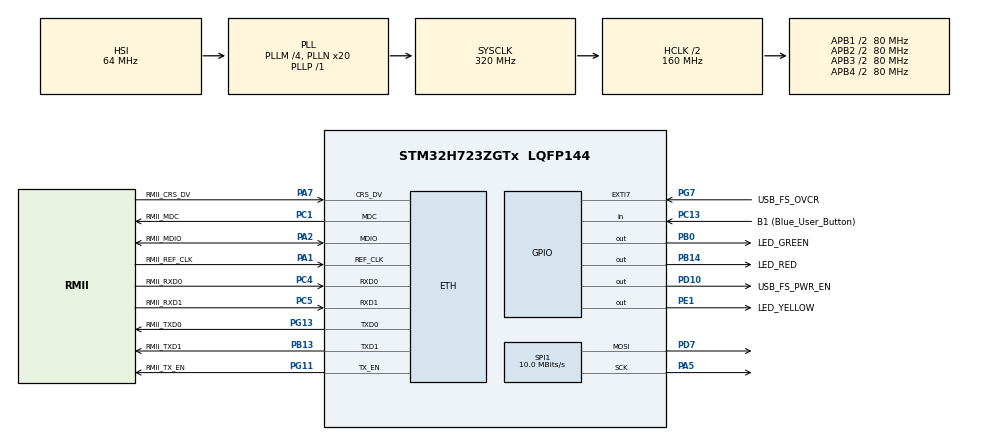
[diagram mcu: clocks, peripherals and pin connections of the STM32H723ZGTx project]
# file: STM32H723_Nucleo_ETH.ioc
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CORTEX_M7.AccessPermission_S-Cortex_Memory_Protection_Unit_Region1_Settings_S=MPU_REGION_FULL_ACCESS
CORTEX_M7.AccessPermission_S-Cortex_Memory_Protection_Unit_Region2_Settings_S=MPU_REGION_FULL_ACCESS
CORTEX_M7.BaseAddress_S-Cortex_Memory_Protection_Unit_Region1_Settings_S=0x30000000
CORTEX_M7.BaseAddress_S-Cortex_Memory_Protection_Unit_Region2_Settings_S=0x30000000
CORTEX_M7.CPU_DCache=Enabled
CORTEX_M7.CPU_ICache=Enabled
CORTEX_M7.DisableExec_S-Cortex_Memory_Protection_Unit_Region1_Settings_S=MPU_INSTRUCTION_ACCESS_DISABLE
CORTEX_M7.DisableExec_S-Cortex_Memory_Protection_Unit_Region2_Settings_S=MPU_INSTRUCTION_ACCESS_DISABLE
CORTEX_M7.Enable_S-Cortex_Memory_Protection_Unit_Region1_Settings_S=MPU_REGION_ENABLE
CORTEX_M7.Enable_S-Cortex_Memory_Protection_Unit_Region2_Settings_S=MPU_REGION_ENABLE
CORTEX_M7.IsBufferable_S-Cortex_Memory_Protection_Unit_Region2_Settings_S=MPU_ACCESS_BUFFERABLE
CORTEX_M7.IsShareable_S-Cortex_Memory_Protection_Unit_Region2_Settings_S=MPU_ACCESS_SHAREABLE
CORTEX_M7.Size_S-Cortex_Memory_Protection_Unit_Region1_Settings_S=MPU_REGION_SIZE_32KB
CORTEX_M7.Size_S-Cortex_Memory_Protection_Unit_Region2_Settings_S=MPU_REGION_SIZE_512B
CORTEX_M7.TypeExtField_S-Cortex_Memory_Protection_Unit_Region1_Settings_S=MPU_TEX_LEVEL1
CORTEX_M7.default_mode_Activation=1
Dma.Request0=SPI1_TX
Dma.SPI1_TX.0.Direction=DMA_MEMORY_TO_PERIPH
Dma.SPI1_TX.0.EventEnable=DISABLE
Dma.SPI1_TX.0.FIFOMode=DMA_FIFOMODE_ENABLE
Dma.SPI1_TX.0.FIFOThreshold=DMA_FIFO_THRESHOLD_FULL
Dma.SPI1_TX.0.Instance=DMA1_Stream0
Dma.SPI1_TX.0.MemBurst=DMA_MBURST_SINGLE
Dma.SPI1_TX.0.MemDataAlignment=DMA_MDATAALIGN_BYTE
Dma.SPI1_TX.0.MemInc=DMA_MINC_ENABLE
Dma.SPI1_TX.0.Mode=DMA_NORMAL
Dma.SPI1_TX.0.PeriphBurst=DMA_PBURST_SINGLE
Dma.SPI1_TX.0.PeriphDataAlignment=DMA_PDATAALIGN_BYTE
Dma.SPI1_TX.0.PeriphInc=DMA_PINC_DISABLE
Dma.SPI1_TX.0.Polarity=HAL_DMAMUX_REQ_GEN_RISING
Dma.SPI1_TX.0.Priority=DMA_PRIORITY_HIGH
Dma.SPI1_TX.0.RequestNumber=1
Dma.SPI1_TX.0.SignalID=NONE
Dma.SPI1_TX.0.SyncEnable=DISABLE
Dma.SPI1_TX.0.SyncPolarity=HAL_DMAMUX_SYNC_NO_EVENT
Dma.SPI1_TX.0.SyncRequestNumber=1
Dma.SPI1_TX.0.SyncSignalID=NONE
ETH.MediaInterface=HAL_ETH_RMII_MODE
ETH.RxBuffAddress=0x30000200
ETH.RxBuffLen=1536
ETH.TxDescAddress=0x30000100
FREERTOS.Tasks01=defaultTask,24,512,StartDefaultTask,Default,NULL,Dynamic,NULL,NULL
FREERTOS.configCHECK_FOR_STACK_OVERFLOW=1
FREERTOS.configMINIMAL_STACK_SIZE=512
FREERTOS.configTOTAL_HEAP_SIZE=30*1024
FREERTOS.configUSE_NEWLIB_REENTRANT=1
LWIP.BSP.number=1
LWIP.DEFAULT_THREAD_STACKSIZE=2048
LWIP.IP_ADDRESS=192.168.001.010
LWIP.LWIP_DHCP=0
LWIP.LWIP_RAM_HEAP_POINTER=0x30000200
LWIP.MEM_SIZE=32232
LWIP.NETMASK_ADDRESS=255.255.255.000
LWIP.TCPIP_THREAD_STACKSIZE=2048
LWIP.TCP_MSS=1460
LWIP.TCP_SND_BUF=5840
LWIP.TCP_SND_QUEUELEN=16
LWIP.Version=v2.1.2_Cube
LWIP0.BSP.STBoard=false
LWIP0.BSP.api=BSP_COMPONENT_DRIVER
LWIP0.BSP.component=LAN8742
LWIP0.BSP.instance=LAN8742
LWIP0.BSP.name=Driver_PHY
LWIP0.BSP.semaphore=S_LAN8742
LWIP0.BSP.solution=LAN8742
Mcu.Family=STM32H7
Mcu.Name=STM32H723ZGTx
Mcu.Package=LQFP144
NVIC.DMA1_Stream0_IRQn=true\:5\:0\:false\:false\:true\:true\:false\:true\:true
NVIC.ETH_IRQn=true\:5\:0\:false\:false\:true\:true\:true\:true\:true
NVIC.PriorityGroup=NVIC_PRIORITYGROUP_4
NVIC.SPI1_IRQn=true\:5\:0\:false\:false\:true\:true\:false\:true\:true
NVIC.TIM6_DAC_IRQn=true\:15\:0\:false\:false\:true\:false\:false\:true\:true
NVIC.TimeBase=TIM6_DAC_IRQn
NVIC.TimeBaseIP=TIM6
PA1.GPIO_Label=RMII_REF_CLK
PA1.GPIO_Speed=GPIO_SPEED_FREQ_VERY_HIGH
PA1.Mode=RMII
PA1.Signal=ETH_REF_CLK
PA10.GPIO_Label=USB_FS_ID
PA10.Signal=USB_OTG_HS_ID
PA13(JTMS/SWDIO).GPIO_Label=SWDIO
PA13(JTMS/SWDIO).Signal=DEBUG_JTMS-SWDIO
PA14(JTCK/SWCLK).GPIO_Label=SWCLK
PA14(JTCK/SWCLK).Signal=DEBUG_JTCK-SWCLK
PA2.GPIO_Label=RMII_MDIO
PA2.GPIO_Speed=GPIO_SPEED_FREQ_VERY_HIGH
PA2.Mode=RMII
PA2.Signal=ETH_MDIO
PA5.GPIO_Speed=GPIO_SPEED_FREQ_LOW
PA5.Mode=TX_Only_Simplex_Unidirect_Master
PA5.Signal=SPI1_SCK
PA7.GPIO_Label=RMII_CRS_DV
PA7.GPIO_Speed=GPIO_SPEED_FREQ_VERY_HIGH
PA7.Mode=RMII
PA7.Signal=ETH_CRS_DV
PA9.GPIO_Label=USB_FS_VBUS
PA9.Signal=USB_OTG_HS_VBUS
PB0.GPIO_Label=LED_GREEN
PB0.Signal=GPIO_Output
PB13.GPIO_Label=RMII_TXD1
PB13.GPIO_Speed=GPIO_SPEED_FREQ_VERY_HIGH
PB13.Mode=RMII
PB13.Signal=ETH_TXD1
PB14.GPIO_Label=LED_RED
PB14.Signal=GPIO_Output
PB3(JTDO/TRACESWO).GPIO_Label=SWO
PB3(JTDO/TRACESWO).Signal=DEBUG_JTDO-SWO
PC1.GPIO_Label=RMII_MDC
PC1.GPIO_Speed=GPIO_SPEED_FREQ_VERY_HIGH
PC1.Mode=RMII
PC1.Signal=ETH_MDC
PC13.GPIO_Label=B1 (Blue_User_Button)
PC13.Signal=GPIO_Input
PC14-OSC32_IN.Signal=RCC_OSC32_IN
PC15-OSC32_OUT.Signal=RCC_OSC32_OUT
PC4.GPIO_Label=RMII_RXD0
PC4.GPIO_Speed=GPIO_SPEED_FREQ_VERY_HIGH
PC4.Mode=RMII
PC4.Signal=ETH_RXD0
PC5.GPIO_Label=RMII_RXD1
PC5.GPIO_Speed=GPIO_SPEED_FREQ_VERY_HIGH
PC5.Mode=RMII
PC5.Signal=ETH_RXD1
PD10.GPIO_Label=USB_FS_PWR_EN
PD10.Signal=GPIO_Output
PD7.GPIO_Speed=GPIO_SPEED_FREQ_LOW
PD7.Mode=TX_Only_Simplex_Unidirect_Master
PD7.Signal=SPI1_MOSI
PD8.GPIO_Label=STLK_VCP_RX
PD8.Signal=USART3_TX
PD9.GPIO_Label=STLK_VCP_TX
PD9.Signal=USART3_RX
PE1.GPIO_Label=LED_YELLOW
PE1.Signal=GPIO_Output
PG11.GPIO_Label=RMII_TX_EN
PG11.GPIO_Speed=GPIO_SPEED_FREQ_VERY_HIGH
PG11.Mode=RMII
PG11.Signal=ETH_TX_EN
PG13.GPIO_Label=RMII_TXD0
PG13.GPIO_Speed=GPIO_SPEED_FREQ_VERY_HIGH
PG13.Mode=RMII
PG13.Signal=ETH_TXD0
PG7.GPIO_Label=USB_FS_OVCR
PG7.Signal=GPXTI7
PH0-OSC_IN.GPIO_Label=MCO
PH0-OSC_IN.Signal=RCC_OSC_IN
PH1-OSC_OUT.Signal=RCC_OSC_OUT
ProjectManager.HeapSize=0x200
ProjectManager.StackSize=0x400
ProjectManager.TargetToolchain=STM32CubeIDE
RCC.ADCFreq_Value=608000000
RCC.APB1Freq_Value=80000000
RCC.APB2Freq_Value=80000000
RCC.APB3Freq_Value=80000000
RCC.APB4Freq_Value=80000000
RCC.CortexFreq_Value=320000000
RCC.D1PPRE=RCC_APB3_DIV2
RCC.D2PPRE1=RCC_APB1_DIV2
RCC.D2PPRE2=RCC_APB2_DIV2
RCC.D3PPRE=RCC_APB4_DIV2
RCC.DIVM1=4
RCC.DIVM2=1
RCC.DIVN1=20
RCC.DIVN2=19
RCC.DIVP1=1
RCC.HCLKFreq_Value=160000000
RCC.HPRE=RCC_HCLK_DIV2
RCC.HSE_VALUE=8000000
RCC.PLLFRACN=0
RCC.SYSCLKFreq_VALUE=320000000
RCC.SYSCLKSource=RCC_SYSCLKSOURCE_PLLCLK
RCC.USBCLockSelection=RCC_USBCLKSOURCE_HSI48
RCC.USBFreq_Value=48000000
SPI1.BaudRatePrescaler=SPI_BAUDRATEPRESCALER_16
SPI1.CalculateBaudRate=10.0 MBits/s
SPI1.DataSize=SPI_DATASIZE_8BIT
SPI1.Direction=SPI_DIRECTION_2LINES_TXONLY
SPI1.Mode=SPI_MODE_MASTER
SPI1.VirtualType=VM_MASTER
VP_FREERTOS_VS_CMSIS_V2.Mode=CMSIS_V2
VP_LWIP_VS_Enabled.Mode=Enabled
VP_SYS_VS_tim6.Mode=TIM6
board=NUCLEO-H723ZG

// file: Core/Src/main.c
/* USER CODE BEGIN Header */
/**
  ******************************************************************************
  * @file           : main.c
  * @brief          : Main program body
  ******************************************************************************
  * @attention
  *
  * Copyright (c) 2022 STMicroelectronics.
  * All rights reserved.
  *
  * This software is licensed under terms that can be found in the LICENSE file
  * in the root directory of this software component.
  * If no LICENSE file comes with this software, it is provided AS-IS.
  *
  ******************************************************************************
  */
/* USER CODE END Header */
#include "main.h"
#include "cmsis_os.h"
#include "lwip.h"

/* USER CODE BEGIN Includes */
/* ETH_CODE: add lwiperf, see comment in StartDefaultTask function */
#include "lwip/apps/lwiperf.h"
#include "lwip/api.h"
#include "lwip/sys.h"
/* USER CODE END Includes */

SPI_HandleTypeDef hspi1;
DMA_HandleTypeDef hdma_spi1_tx;

/* Definitions for defaultTask */
osThreadId_t defaultTaskHandle;
const osThreadAttr_t defaultTask_attributes = {
  .name = "defaultTask",
  .stack_size = 512 * 4,
  .priority = (osPriority_t) osPriorityNormal,
};
/* USER CODE BEGIN PV */
extern SPI_HandleTypeDef hspi1;
osSemaphoreId_t SpiTxSemHandle;
/* USER CODE END PV */

void SystemClock_Config(void);
static void MPU_Config(void);
static void MX_GPIO_Init(void);
static void MX_DMA_Init(void);
static void MX_SPI1_Init(void);
void StartDefaultTask(void *argument);

int main(void)
{

  /* MPU Configuration--------------------------------------------------------*/
  MPU_Config();

  /* Enable I-Cache---------------------------------------------------------*/
  SCB_EnableICache();

  /* Enable D-Cache---------------------------------------------------------*/
  SCB_EnableDCache();

  /* MCU Configuration--------------------------------------------------------*/

  /* Reset of all peripherals, Initializes the Flash interface and the Systick. */
  HAL_Init();

  /* Configure the system clock */
  SystemClock_Config();

  /* Initialize all configured peripherals */
  MX_GPIO_Init();
  MX_DMA_Init();
  MX_SPI1_Init();

  /* Init scheduler */
  osKernelInitialize();

  /* Create the thread(s) */
  /* creation of defaultTask */
  defaultTaskHandle = osThreadNew(StartDefaultTask, NULL, &defaultTask_attributes);

  /* Start scheduler */
  osKernelStart();

  /* We should never get here as control is now taken by the scheduler */
  /* Infinite loop */
  while (1)
  {

  }
}

void SystemClock_Config(void)
{
  RCC_OscInitTypeDef RCC_OscInitStruct = {0};
  RCC_ClkInitTypeDef RCC_ClkInitStruct = {0};

  /** Supply configuration update enable
  */
  HAL_PWREx_ConfigSupply(PWR_LDO_SUPPLY);

  /** Configure the main internal regulator output voltage
  */
  __HAL_PWR_VOLTAGESCALING_CONFIG(PWR_REGULATOR_VOLTAGE_SCALE1);

  while(!__HAL_PWR_GET_FLAG(PWR_FLAG_VOSRDY)) {}

  /** Initializes the RCC Oscillators according to the specified parameters
  * in the RCC_OscInitTypeDef structure.
  */
  RCC_OscInitStruct.OscillatorType = RCC_OSCILLATORTYPE_HSI;
  RCC_OscInitStruct.HSIState = RCC_HSI_DIV1;
  RCC_OscInitStruct.HSICalibrationValue = RCC_HSICALIBRATION_DEFAULT;
  RCC_OscInitStruct.PLL.PLLState = RCC_PLL_ON;
  RCC_OscInitStruct.PLL.PLLSource = RCC_PLLSOURCE_HSI;
  RCC_OscInitStruct.PLL.PLLM = 4;
  RCC_OscInitStruct.PLL.PLLN = 20;
  RCC_OscInitStruct.PLL.PLLP = 1;
  RCC_OscInitStruct.PLL.PLLQ = 2;
  RCC_OscInitStruct.PLL.PLLR = 2;
  RCC_OscInitStruct.PLL.PLLRGE = RCC_PLL1VCIRANGE_3;
  RCC_OscInitStruct.PLL.PLLVCOSEL = RCC_PLL1VCOWIDE;
  RCC_OscInitStruct.PLL.PLLFRACN = 0;
  if (HAL_RCC_OscConfig(&RCC_OscInitStruct) != HAL_OK)
  {
    Error_Handler();
  }

  /** Initializes the CPU, AHB and APB buses clocks
  */
  RCC_ClkInitStruct.ClockType = RCC_CLOCKTYPE_HCLK|RCC_CLOCKTYPE_SYSCLK
                              |RCC_CLOCKTYPE_PCLK1|RCC_CLOCKTYPE_PCLK2
                              |RCC_CLOCKTYPE_D3PCLK1|RCC_CLOCKTYPE_D1PCLK1;
  RCC_ClkInitStruct.SYSCLKSource = RCC_SYSCLKSOURCE_PLLCLK;
  RCC_ClkInitStruct.SYSCLKDivider = RCC_SYSCLK_DIV1;
  RCC_ClkInitStruct.AHBCLKDivider = RCC_HCLK_DIV2;
  RCC_ClkInitStruct.APB3CLKDivider = RCC_APB3_DIV2;
  RCC_ClkInitStruct.APB1CLKDivider = RCC_APB1_DIV2;
  RCC_ClkInitStruct.APB2CLKDivider = RCC_APB2_DIV2;
  RCC_ClkInitStruct.APB4CLKDivider = RCC_APB4_DIV2;

  if (HAL_RCC_ClockConfig(&RCC_ClkInitStruct, FLASH_LATENCY_2) != HAL_OK)
  {
    Error_Handler();
  }
}

static void MX_SPI1_Init(void)
{

  /* SPI1 parameter configuration*/
  hspi1.Instance = SPI1;
  hspi1.Init.Mode = SPI_MODE_MASTER;
  hspi1.Init.Direction = SPI_DIRECTION_2LINES_TXONLY;
  hspi1.Init.DataSize = SPI_DATASIZE_8BIT;
  hspi1.Init.CLKPolarity = SPI_POLARITY_LOW;
  hspi1.Init.CLKPhase = SPI_PHASE_1EDGE;
  hspi1.Init.NSS = SPI_NSS_SOFT;
  hspi1.Init.BaudRatePrescaler = SPI_BAUDRATEPRESCALER_16;
  hspi1.Init.FirstBit = SPI_FIRSTBIT_MSB;
  hspi1.Init.TIMode = SPI_TIMODE_DISABLE;
  hspi1.Init.CRCCalculation = SPI_CRCCALCULATION_DISABLE;
  hspi1.Init.CRCPolynomial = 0x0;
  hspi1.Init.NSSPMode = SPI_NSS_PULSE_ENABLE;
  hspi1.Init.NSSPolarity = SPI_NSS_POLARITY_LOW;
  hspi1.Init.FifoThreshold = SPI_FIFO_THRESHOLD_01DATA;
  hspi1.Init.TxCRCInitializationPattern = SPI_CRC_INITIALIZATION_ALL_ZERO_PATTERN;
  hspi1.Init.RxCRCInitializationPattern = SPI_CRC_INITIALIZATION_ALL_ZERO_PATTERN;
  hspi1.Init.MasterSSIdleness = SPI_MASTER_SS_IDLENESS_00CYCLE;
  hspi1.Init.MasterInterDataIdleness = SPI_MASTER_INTERDATA_IDLENESS_00CYCLE;
  hspi1.Init.MasterReceiverAutoSusp = SPI_MASTER_RX_AUTOSUSP_DISABLE;
  hspi1.Init.MasterKeepIOState = SPI_MASTER_KEEP_IO_STATE_DISABLE;
  hspi1.Init.IOSwap = SPI_IO_SWAP_DISABLE;
  if (HAL_SPI_Init(&hspi1) != HAL_OK)
  {
    Error_Handler();
  }

}

static void MX_DMA_Init(void)
{

  /* DMA controller clock enable */
  __HAL_RCC_DMA1_CLK_ENABLE();

  /* DMA interrupt init */
  /* DMA1_Stream0_IRQn interrupt configuration */
  HAL_NVIC_SetPriority(DMA1_Stream0_IRQn, 5, 0);
  HAL_NVIC_EnableIRQ(DMA1_Stream0_IRQn);

}

static void MX_GPIO_Init(void)
{
  GPIO_InitTypeDef GPIO_InitStruct = {0};

  /* GPIO Ports Clock Enable */
  __HAL_RCC_GPIOC_CLK_ENABLE();
  __HAL_RCC_GPIOH_CLK_ENABLE();
  __HAL_RCC_GPIOA_CLK_ENABLE();
  __HAL_RCC_GPIOB_CLK_ENABLE();
  __HAL_RCC_GPIOD_CLK_ENABLE();
  __HAL_RCC_GPIOG_CLK_ENABLE();
  __HAL_RCC_GPIOE_CLK_ENABLE();

  /*Configure GPIO pin Output Level */
  HAL_GPIO_WritePin(GPIOB, LED_GREEN_Pin|LED_RED_Pin, GPIO_PIN_RESET);

  /*Configure GPIO pin Output Level */
  HAL_GPIO_WritePin(USB_FS_PWR_EN_GPIO_Port, USB_FS_PWR_EN_Pin, GPIO_PIN_RESET);

  /*Configure GPIO pin Output Level */
  HAL_GPIO_WritePin(LED_YELLOW_GPIO_Port, LED_YELLOW_Pin, GPIO_PIN_RESET);

  /*Configure GPIO pin : B1_Pin */
  GPIO_InitStruct.Pin = B1_Pin;
  GPIO_InitStruct.Mode = GPIO_MODE_INPUT;
  GPIO_InitStruct.Pull = GPIO_NOPULL;
  HAL_GPIO_Init(B1_GPIO_Port, &GPIO_InitStruct);

  /*Configure GPIO pins : LED_GREEN_Pin LED_RED_Pin */
  GPIO_InitStruct.Pin = LED_GREEN_Pin|LED_RED_Pin;
  GPIO_InitStruct.Mode = GPIO_MODE_OUTPUT_PP;
  GPIO_InitStruct.Pull = GPIO_NOPULL;
  GPIO_InitStruct.Speed = GPIO_SPEED_FREQ_LOW;
  HAL_GPIO_Init(GPIOB, &GPIO_InitStruct);

  /*Configure GPIO pins : STLK_VCP_RX_Pin STLK_VCP_TX_Pin */
  GPIO_InitStruct.Pin = STLK_VCP_RX_Pin|STLK_VCP_TX_Pin;
  GPIO_InitStruct.Mode = GPIO_MODE_AF_PP;
  GPIO_InitStruct.Pull = GPIO_NOPULL;
  GPIO_InitStruct.Speed = GPIO_SPEED_FREQ_LOW;
  GPIO_InitStruct.Alternate = GPIO_AF7_USART3;
  HAL_GPIO_Init(GPIOD, &GPIO_InitStruct);

  /*Configure GPIO pin : USB_FS_PWR_EN_Pin */
  GPIO_InitStruct.Pin = USB_FS_PWR_EN_Pin;
  GPIO_InitStruct.Mode = GPIO_MODE_OUTPUT_PP;
  GPIO_InitStruct.Pull = GPIO_NOPULL;
  GPIO_InitStruct.Speed = GPIO_SPEED_FREQ_LOW;
  HAL_GPIO_Init(USB_FS_PWR_EN_GPIO_Port, &GPIO_InitStruct);

  /*Configure GPIO pin : USB_FS_OVCR_Pin */
  GPIO_InitStruct.Pin = USB_FS_OVCR_Pin;
  GPIO_InitStruct.Mode = GPIO_MODE_IT_RISING;
  GPIO_InitStruct.Pull = GPIO_NOPULL;
  HAL_GPIO_Init(USB_FS_OVCR_GPIO_Port, &GPIO_InitStruct);

  /*Configure GPIO pin : USB_FS_ID_Pin */
  GPIO_InitStruct.Pin = USB_FS_ID_Pin;
  GPIO_InitStruct.Mode = GPIO_MODE_AF_PP;
  GPIO_InitStruct.Pull = GPIO_NOPULL;
  GPIO_InitStruct.Speed = GPIO_SPEED_FREQ_LOW;
  GPIO_InitStruct.Alternate = GPIO_AF10_OTG1_HS;
  HAL_GPIO_Init(USB_FS_ID_GPIO_Port, &GPIO_InitStruct);

  /*Configure GPIO pin : LED_YELLOW_Pin */
  GPIO_InitStruct.Pin = LED_YELLOW_Pin;
  GPIO_InitStruct.Mode = GPIO_MODE_OUTPUT_PP;
  GPIO_InitStruct.Pull = GPIO_NOPULL;
  GPIO_InitStruct.Speed = GPIO_SPEED_FREQ_LOW;
  HAL_GPIO_Init(LED_YELLOW_GPIO_Port, &GPIO_InitStruct);

}

/* USER CODE BEGIN 4 */
/* USER CODE BEGIN 4 */
void HAL_SPI_TxCpltCallback(SPI_HandleTypeDef *hspi)
{
  // Check if this is the SPI instance we are using
  if(hspi->Instance == SPI1)
  {
    // Wake up the StartBridgeTask
    osSemaphoreRelease(SpiTxSemHandle);
  }
}
/* USER CODE END 4 */

void StartDefaultTask(void *argument)
{
  /* init code for LWIP */
  MX_LWIP_Init();
  /* USER CODE BEGIN 5 */
  struct netconn *conn, *newconn;
  err_t err;

  // 1. Create the Semaphore for SPI DMA
  // Initial count 0 means if we try to take it, we block immediately (until SPI is done)
  SpiTxSemHandle = osSemaphoreNew(1, 0, NULL);

  // 2. Create a new TCP connection handle
  conn = netconn_new(NETCONN_TCP);

  if (conn != NULL)
  {
    // 3. Bind to Port 5000 (Host laptop connects to 192.168.1.10:5000)
    err = netconn_bind(conn, IP_ADDR_ANY, 5000);

    if (err == ERR_OK)
    {
      // 4. Put connection into LISTEN state
      netconn_listen(conn);

      while (1)
      {
        // 5. Accept a new connection (Blocking wait)
        // The task sleeps here until the Laptop connects
        err = netconn_accept(conn, &newconn);

        if (err == ERR_OK)
        {
          struct netbuf *buf;
          void *data;
          u16_t len;

          // 6. Process the incoming data stream
          while ((err = netconn_recv(newconn, &buf)) == ERR_OK)
          {
            // A netbuf might be fragmented. Iterate through the chain.
            do
            {
               // Get pointer to the data payload inside the LwIP buffer
               netbuf_data(buf, &data, &len);

               // SAFETY: Clean D-Cache to ensure DMA reads physical RAM, not old cache.
               // Even with MPU, this is a safe, low-cost guardrail.
               SCB_CleanDCache_by_Addr((uint32_t*)data, len + 32);

               // 7. Start SPI DMA Transfer (Zero Copy)
               // We pass the LwIP buffer pointer directly to SPI hardware
               if(HAL_SPI_Transmit_DMA(&hspi1, (uint8_t*)data, len) == HAL_OK)
               {
                   // 8. BLOCK here until SPI is done.
                   // The CPU yields to other tasks. DMA does the work.
                   // We wait for HAL_SPI_TxCpltCallback to release this semaphore.
                   osSemaphoreAcquire(SpiTxSemHandle, osWaitForever);
               }
               else
               {
                   // If DMA fails to start (busy?), handle error or just continue
               }

            } while (netbuf_next(buf) >= 0);

            // 9. Now that SPI is finished, we can delete the TCP buffer
            netbuf_delete(buf);
          }

          // Client disconnected
          netconn_close(newconn);
          netconn_delete(newconn);
        }
      }
    }
    else
    {
      // Bind failed (Port in use?)
      netconn_delete(conn);
    }
  }

  // Fallback if LwIP fails to start
  for(;;)
  {
    osDelay(1000);
  }
  /* USER CODE END 5 */
}

/* MPU Configuration */

void MPU_Config(void)
{
  MPU_Region_InitTypeDef MPU_InitStruct = {0};

  /* Disables the MPU */
  HAL_MPU_Disable();

  /** Initializes and configures the Region and the memory to be protected
  */
  MPU_InitStruct.Enable = MPU_REGION_ENABLE;
  MPU_InitStruct.Number = MPU_REGION_NUMBER0;
  MPU_InitStruct.BaseAddress = 0x0;
  MPU_InitStruct.Size = MPU_REGION_SIZE_4GB;
  MPU_InitStruct.SubRegionDisable = 0x87;
  MPU_InitStruct.TypeExtField = MPU_TEX_LEVEL0;
  MPU_InitStruct.AccessPermission = MPU_REGION_NO_ACCESS;
  MPU_InitStruct.DisableExec = MPU_INSTRUCTION_ACCESS_DISABLE;
  MPU_InitStruct.IsShareable = MPU_ACCESS_SHAREABLE;
  MPU_InitStruct.IsCacheable = MPU_ACCESS_NOT_CACHEABLE;
  MPU_InitStruct.IsBufferable = MPU_ACCESS_NOT_BUFFERABLE;

  HAL_MPU_ConfigRegion(&MPU_InitStruct);

  /** Initializes and configures the Region and the memory to be protected
  */
  MPU_InitStruct.Number = MPU_REGION_NUMBER1;
  MPU_InitStruct.BaseAddress = 0x30000000;
  MPU_InitStruct.Size = MPU_REGION_SIZE_32KB;
  MPU_InitStruct.SubRegionDisable = 0x0;
  MPU_InitStruct.TypeExtField = MPU_TEX_LEVEL1;
  MPU_InitStruct.AccessPermission = MPU_REGION_FULL_ACCESS;
  MPU_InitStruct.IsShareable = MPU_ACCESS_NOT_SHAREABLE;

  HAL_MPU_ConfigRegion(&MPU_InitStruct);

  /** Initializes and configures the Region and the memory to be protected
  */
  MPU_InitStruct.Number = MPU_REGION_NUMBER2;
  MPU_InitStruct.Size = MPU_REGION_SIZE_512B;
  MPU_InitStruct.TypeExtField = MPU_TEX_LEVEL0;
  MPU_InitStruct.IsShareable = MPU_ACCESS_SHAREABLE;
  MPU_InitStruct.IsBufferable = MPU_ACCESS_BUFFERABLE;

  HAL_MPU_ConfigRegion(&MPU_InitStruct);
  /* Enables the MPU */
  HAL_MPU_Enable(MPU_PRIVILEGED_DEFAULT);

}

void HAL_TIM_PeriodElapsedCallback(TIM_HandleTypeDef *htim)
{
  if (htim->Instance == TIM6) {
    HAL_IncTick();
  }
}

void Error_Handler(void)
{
  __disable_irq();
  while (1)
  {
  }
}
